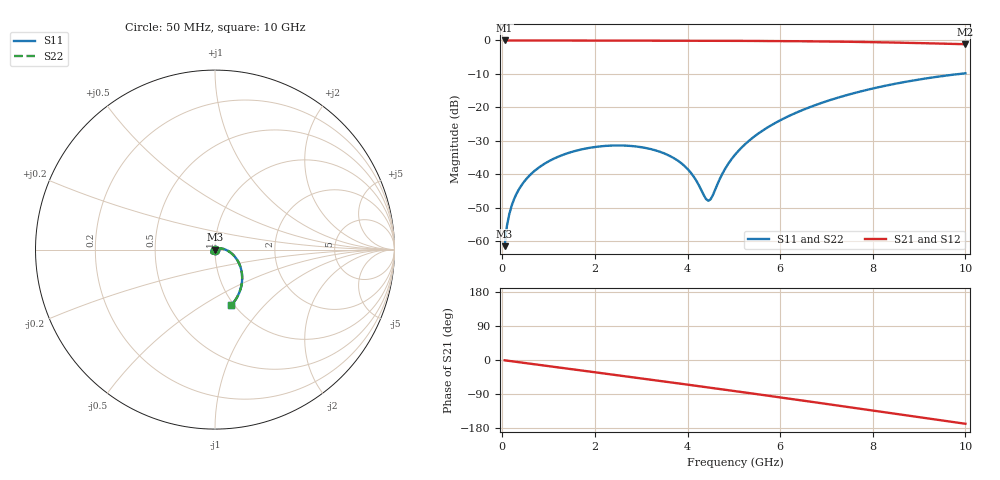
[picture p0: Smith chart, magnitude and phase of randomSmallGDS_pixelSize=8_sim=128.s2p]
! freq	dB(S11)	phase(S11)	dB(S12)	phase(S12)
!  dB(S21)	phase(S21)	dB(S22)	phase(S22)
!S-par simulation data
#  GHz  S  DB  R 50
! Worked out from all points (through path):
!   200 points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, 50 MHz to 10 GHz, reference 50 ohm
!   highest |S21| = 0.00 dB at 50 MHz (marker M1); lowest = -1.1 dB at 10 GHz (marker M2)
!   group delay of S21, straight-line fit = 46.8 ps
!   lowest |S11| = -61.5 dB at 50 MHz (marker M3), VSWR 1.00, Z = 50 - j0.0845 ohm
!   |S11| at or under -10 dB: start of sweep to 9.875 GHz
!   |S22| runs from -61.5 to -9.8 dB; largest |S21 - S12| = 0
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0.05  -61.47 -89.0  -0.00 -0.8  -0.00 -0.8  -61.47 -89.0
0.1  -55.46 -91.0  -0.00 -1.6  -0.00 -1.6  -55.46 -91.0
0.2  -49.48 -93.4  -0.00 -3.3  -0.00 -3.3  -49.48 -93.4
0.35  -44.70 -96.4  -0.00 -5.7  -0.00 -5.7  -44.70 -96.4
0.5  -41.70 -99.1  -0.01 -8.1  -0.01 -8.1  -41.70 -99.1
1  -36.12 -107.8  -0.02 -16.2  -0.02 -16.2  -36.12 -107.8
1.75  -32.43 -120.8  -0.03 -28.3  -0.03 -28.3  -32.43 -120.8
2.6  -31.39 -135.9  -0.05 -42.1  -0.05 -42.1  -31.39 -135.9
3.4  -33.24 -152.0  -0.06 -55.1  -0.06 -55.1  -33.24 -152.0
3.75  -35.55 -161.2  -0.07 -60.9  -0.07 -60.9  -35.55 -161.3
4  -38.41 -171.0  -0.08 -65.0  -0.08 -65.0  -38.40 -171.1
4.15  -41.03 179.2  -0.08 -67.5  -0.08 -67.5  -41.02 179.0
4.45  -47.91 111.4  -0.09 -72.5  -0.09 -72.5  -47.85 111.3
4.55  -46.12 73.2  -0.10 -74.1  -0.10 -74.1  -46.07 73.4
4.8  -38.63 34.4  -0.11 -78.3  -0.11 -78.3  -38.62 34.6
5.05  -33.74 21.5  -0.12 -82.5  -0.12 -82.5  -33.74 21.6
5.35  -29.70 12.2  -0.14 -87.6  -0.14 -87.6  -29.70 12.3
5.7  -26.23 3.9  -0.16 -93.5  -0.16 -93.5  -26.23 4.0
6.7  -19.62 -15.8  -0.27 -110.7  -0.27 -110.7  -19.62 -15.8
8.35  -13.31 -45.5  -0.60 -139.6  -0.60 -139.6  -13.31 -45.5
9.15  -11.34 -59.5  -0.83 -153.6  -0.83 -153.6  -11.34 -59.4
10  -9.81 -73.9  -1.12 -168.3  -1.12 -168.3  -9.81 -73.9
